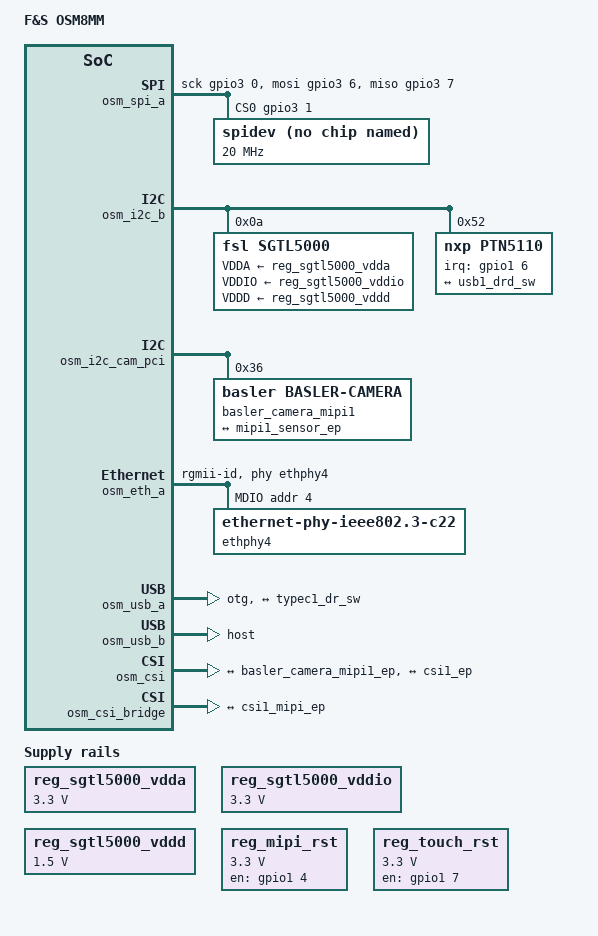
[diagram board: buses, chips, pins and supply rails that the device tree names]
/*
 * Copyright (C) 2024 F&S Elektronik Systeme GmbH
 *
 * This program is free software; you can redistribute it and/or modify
 * it under the terms of the GNU General Public License version 2 as
 * published by the Free Software Foundation.
 */

/dts-v1/;

/* Set board revision as 3-digit number, e.g. 110 for board rev. 1.10 */
#define CONFIG_OSM8MM_BOARD_REVISION	120
/* Set adapter revision as 3-digit number, e.g. 110 for board rev. 1.10 */
#define CONFIG_ADP_OSM_BOARD_REVISION	120
/* Set baseboard revision as 3-digit number, e.g. 110 for board rev. 1.10 */
#define CONFIG_PICOCOREBBDSI_BOARD_REVISION	140

/* Activate this if you want to use the Cortex-M4 core */
//#define SUPPORT_M4

/* Display device-trees enables MIPI DSI */
/* MIPI DSI */
//#define CONFIG_OSM8MM_MIPI_DSI

/* Network */
#define CONFIG_OSM8MM_ETH_A

/* USB */
#define CONFIG_OSM8MM_USB_A
#define CONFIG_OSM8MM_USB_B
#define CONFIG_OSM8MM_USB_A_USBC
#define CONFIG_OSM8MM_USB_A_USBC_ALERT

/* PCIe */
#define CONFIG_OSM8MM_PCIE_A

/* I2C */
#define CONFIG_OSM8MM_I2C_A /* OSM: EEPROM BB: I2C_A */
#define CONFIG_OSM8MM_I2C_B /* ADP: SGTL5000 BB: I2C_D */
/* OSM: I2C_CAM_PCI ADP: I2C_CAM  BB: I2C_B */
/* OSM: I2C_CAM_PCI ADP: MPCIE_SM BB: I2C_C */
#define CONFIG_OSM8MM_I2C_CAM_PCI

/* PWM and backlight brightness */
//#define CONFIG_OSM8MM_BL_CTRL
#define CONFIG_OSM8MM_PWM_0
#define CONFIG_OSM8MM_PWM_1

/* UART_CONN - UART1 */
#define CONFIG_OSM8MM_UART_CONN

/* UART_B - UART3 */
#define CONFIG_OSM8MM_UART_B
#define CONFIG_OSM8MM_UART_B_RTSCTS

/* UART_C - UART4 */
#define CONFIG_OSM8MM_UART_C

/* FSPI (Single/Dual/Quad) -> Uncommented because of SPI-GPIO */
//#define CONFIG_OSM8MM_SPI_A

/* Audio */
#define CONFIG_OSM8MM_I2S_A

/* Camera on serial MIPI CSI interface */
#define CONFIG_OSM8MM_SERIAL_CAMERA
/* Experimental implementation for Basler dart daA4200-30mci.
 * Define CONFIG_OSM8MM_SERIAL_CAMERA must also be set.
 */

/*
 * SD_A - External SD port with Card Detect (CD) and Write Protect (WP)
 * On picocoremx8mm SKIT: external port is Micro-SD card slot with CD but
 * without WP
 */
#define CONFIG_OSM8MM_SDIO_A
#define CONFIG_OSM8MM_SDIO_A_CD
#define CONFIG_OSM8MM_SDIO_A_WP

/* Check for invalid CONFIG combinations */

/*
 * Exclude devices from Linux that are used by the Cortex-M4 FreeRTOS examples
 *
 * - UART_D: Debug Console for Cortex-M4
 * - I2C_A:  I2C Bus used in I2C examples
 * - I2C_D:  I2C Bus used by the Audio Codec in SAI examples
 * - SPI_B:  SPI_B is used for ECSPI examples
 * - SDMA1:  Gets removed at another Point, it is used by SPI_B and UART driver
 *           examples
 * - SPI_A:  SPI_A using SDMA1 but SDMA1 is excluded so also exclude SPI_A
 *
 * In addition the following pins are already predefined in FreeRTOS to be used
 * as arbitrary GPIOs. Please remove the comment of the appropriate line of
 * each device from which you use any signal in your own application.
 *
 * - AUDIO_3: GPT capture driver example uses one of its Pins
 */
#ifdef SUPPORT_M4
#undef CONFIG_OSM8MM_UART_C
//#undef CONFIG_OSM8MM_I2C_A
//#undef CONFIG_OSM8MM_SPI_A
//#undef CONFIG_OSM8MM_SPI_B
/* Only undef if using audio/sai examples */
//#undef CONFIG_OSM8MM_I2C_B
//#undef CONFIG_OSM8MM_I2S_A
#endif

/* Disable PWM_0 if BL_CTRL is enabled */
#ifdef CONFIG_OSM8MM_BL_CTRL
#undef CONFIG_OSM8MM_PWM_0
#endif

/* Set different settings for corresponding baseboard revision */
#if CONFIG_PICOCOREBBDSI_BOARD_REVISION < 130
#undef CONFIG_OSM8MM_USB_A_USBC
#endif

#if !defined(CONFIG_OSM8MM_USB_A_USBC) \
    || (CONFIG_PICOCOREBBDSI_BOARD_REVISION < 140)
#undef CONFIG_OSM8MM_USB_A_USBC_ALERT
#endif

#include "osm8mm.dtsi"

/* osm_spi_a overwritten by SPI bitbanging driver */
/delete-node/ &osm_spi_a;

/ {
	model = "F&S OSM8MM";

	regulators {
		/* SGTL5000 analog voltage */
		reg_sgtl5000_vdda: sgtl5000_vdda {
			compatible = "regulator-fixed";
			regulator-name = "VDDA-supply";
			regulator-min-microvolt = <3300000>;
			regulator-max-microvolt = <3300000>;
			regulator-always-on;
		};

		/* SGTL5000 I/O voltage */
		reg_sgtl5000_vddio: sgtl5000_vddio {
			compatible = "regulator-fixed";
			regulator-name = "VDDIO-supply";
			regulator-min-microvolt = <3300000>;
			regulator-max-microvolt = <3300000>;
			regulator-always-on;
		};

		/* SGTL5000 internal digital voltage */
		reg_sgtl5000_vddd: sgtl5000_vddd {
			compatible = "regulator-fixed";
			regulator-name = "VDDD-supply";
			regulator-min-microvolt = <1500000>;
			regulator-max-microvolt = <1500000>;
			regulator-always-on;
		};

		reg_mipi_rst: regulator_mipi_rst {
			compatible = "regulator-fixed";
			regulator-name = "MIPI_RST";
			gpio = <&gpio1 4 GPIO_ACTIVE_HIGH>;
			regulator-min-microvolt = <3300000>;
			regulator-max-microvolt = <3300000>;
			regulator-boot-on;
			regulator-always-on;
			enable-active-high;
			startup-delay-us = <1000>;
			off-on-delay-us = <12000>;
		};

		reg_touch_rst: regulator_touch_rst {
			compatible = "regulator-fixed";
			regulator-name = "TOUCH_RST";
			gpio = <&gpio1 7 GPIO_ACTIVE_HIGH>;
			regulator-min-microvolt = <3300000>;
			regulator-max-microvolt = <3300000>;
			regulator-boot-on;
			regulator-always-on;
			enable-active-high;
			startup-delay-us = <1000>;
			off-on-delay-us = <12000>;
		};
	};

	sound-sgtl5000 {
		compatible = "simple-audio-card";
		simple-audio-card,name = "imx-sgtl5000";
		simple-audio-card,format = "i2s";
		simple-audio-card,frame-master = <&codecdai>;
		simple-audio-card,bitclock-master = <&codecdai>;
		simple-audio-card,widgets =
			"Line", "Line Out Jack",
			"Line", "Line In Jack",
			"Microphone", "Microphone Jack",
			"Headphone", "Headphone Jack";
		simple-audio-card,routing =
			"Line Out Jack", "LINE_OUT",
			"LINE_IN", "Line In Jack", 
			"MIC_IN", "Microphone Jack",
			"Headphone Jack", "HP_OUT";

		cpudai: simple-audio-card,cpu {
			sound-dai = <&osm_i2s_a>;
		};

		codecdai: simple-audio-card,codec {
			sound-dai = <&sgtl5000>;
		};
	};

	/* SPI bitbanging driver */
	osm_spi_a: spi {
		compatible = "spi-gpio";
		#address-cells = <0x1>;
		#size-cells = <0x0>;

		sck-gpios = <&gpio3 0 0>;
		miso-gpios = <&gpio3 7 0>;
		mosi-gpios = <&gpio3 6 0>;
		cs-gpios = <&gpio3 1 0>;
		num-chipselects = <1>;

		spidev@0 {
			compatible = "linux,spidev";
			spi-max-frequency = <20000000>;
			reg = <0>;
			status = "okay";
		};
	};
};

&bdinfo{
	board_name = "osm8mm";
};

#if CONFIG_ADP_OSM_BOARD_REVISION < 120
#if defined(CONFIG_OSM8MM_MIPI_DSI) \
|| defined(CONFIG_OSM8MM_MIPI_DSI_LVDS)
&reg_vlcd {
	gpio = <&gpio1 0 GPIO_ACTIVE_HIGH>;
};
#endif

#ifdef CONFIG_OSM8MM_BL_CTRL
&reg_ldb_bl {
	gpio = <&gpio1 1 GPIO_ACTIVE_HIGH>;
};
#endif
#endif

&osm_i2c_b {
	sgtl5000: sgtl5000@a {
		#sound-dai-cells = <0>;
		compatible = "fsl,sgtl5000";
		/* MCLK is needed for i2c sgtl driver */
		pinctrl-names = "default";
		pinctrl-0 = <&pinctrl_sgtl5000>;
		reg = <0xa>;
		mono2both;
		clocks = <&clk IMX8MM_CLK_SAI5_ROOT>;
		VDDA-supply = <&reg_sgtl5000_vdda>;
		VDDIO-supply = <&reg_sgtl5000_vddio>;
		VDDD-supply = <&reg_sgtl5000_vddd>;
	};

#ifdef CONFIG_OSM8MM_USB_A_USBC
	/* USB-C */
	ptn5110: tcpc@52 {
		compatible = "nxp,ptn5110";
#ifdef CONFIG_OSM8MM_USB_A_USBC_ALERT
		interrupt-parent = <&gpio1>;
		interrupts = <6 IRQ_TYPE_LEVEL_LOW>;
#endif
		reg = <0x52>;
		status = "okay";

		port {
			typec1_dr_sw: endpoint {
				remote-endpoint = <&usb1_drd_sw>;
			};
		};

		typec1_con: connector {
			compatible = "usb-c-connector";
			label = "USB-C";
			power-role = "dual";
			data-role = "dual";
			try-power-role = "sink";
			source-pdos = <PDO_FIXED(5000, 3000,
			PDO_FIXED_USB_COMM)>;
			sink-pdos = <PDO_FIXED(5000, 3000, PDO_FIXED_USB_COMM)
				     PDO_VAR(5000, 20000, 3000)>;
			op-sink-microwatt = <15000000>;
			self-powered;
		};
	};
#endif
};

&osm_i2c_cam_pci {
	basler_camera_mipi1: basler_camera_mipi@36 {
		compatible = "basler,basler-camera";
		reg = <0x36>;
		status = "okay";

		port {
			basler_camera_mipi1_ep: endpoint {
				remote-endpoint = <&mipi1_sensor_ep>;

				/* IMPORTANT: The following three entries needs
				 * to be held in sync with the information
				 * stored in the mipi1_sensor_ep node.
				 */
				 data-lanes = <1 2 3 4>;
				 clock-lanes = <0>;
				 link-frequencies = /bits/ 64 <496000000>;
			};
		};
	};
};

#if 0
/* SPI not implemented in NXP FlexSPI driver, so use SPI-GPIO */
&osm_spi_a {
	cs-gpios = <0>;

	spidev@0 {
		spi-tx-bus-width = <1>;
		spi-rx-bus-width = <1>;
	};
};
#endif

&osm_eth_a {
	phy-mode = "rgmii-id";
	phy-handle = <&ethphy4>;

	mdio {
		#address-cells = <1>;
		#size-cells = <0>;

		ethphy4: ethernet-phy@4 {
			compatible = "ethernet-phy-ieee802.3-c22";
			reg = <4>;
			rtl821x,clkout-disable;
			rtl821x,aldps-enable;
			rtl821x,ssc-rxc-enable;
			rtl821x,ssc-sysclk-enable;
			rtl821x,ssc-clkout-enable;
			rtl821x,led-link = <2>; // LED1 for link indication
			rtl821x,led-act = <2>; // LED1 for activity
			eee-broken-1000t;
		};
	};
};

&osm_usb_a {
	dr_mode = "otg";
#ifdef CONFIG_OSM8MM_USB_A_USBC
	hnp-disable;
	srp-disable;
	adp-disable;
	usb-role-switch;

	port {
		usb1_drd_sw: endpoint {
			remote-endpoint = <&typec1_dr_sw>;
		};
	};
#endif
};

&osm_usb_b {
	dr_mode = "host";
};

&osm_csi {
	/delete-property/ csi,mipi_rst;

	port {
		mipi1_sensor_ep: endpoint@1 {
			remote-endpoint = <&basler_camera_mipi1_ep>;
			/* If the following entries are changed, then
			 * the entries in the basler_camera_mipi1_ep node
			 * need to update too.
			 */
			/* On the i.mx8mmini NXP uses data-lanes
			 * other than expected by the kernel.
			 * On the imx8mmini the enry data-lanes
			 * must contain the number of data lanes.
			 */
			data-lanes = <4>;
			clock-lanes = <0>;
			link-frequencies = /bits/ 64 <496000000>;
			csis-hs-settle = <13>;
			csis-clk-settle = <2>;
			csis-wclk;
		};

		csi1_mipi_ep: endpoint@2 {
			remote-endpoint = <&csi1_ep>;
		};
	};
};

&osm_csi_bridge {
	dma-coherent;
	bsl,dma-invalidate;

	port {
		csi1_ep: endpoint {
			remote-endpoint = <&csi1_mipi_ep>;
		};
	};
};

/delete-node/ &pinctrl_osm_i2s_a;

&iomuxc {
	imx8mm-picocoremx8mm {
		pinctrl_osm_i2s_a: sai5grp {
			fsl,pins = <
				MX8MM_IOMUXC_SAI5_RXD1_SAI5_TX_SYNC	0x000d6
				MX8MM_IOMUXC_SAI5_RXD2_SAI5_TX_BCLK	0x000d6
				MX8MM_IOMUXC_SAI5_RXD3_SAI5_TX_DATA0	0x000d6
				MX8MM_IOMUXC_SAI5_RXD0_SAI5_RX_DATA0	0x000d6
			>;
		};

		pinctrl_sgtl5000: sgtl5000grp {
			fsl,pins = <
				MX8MM_IOMUXC_SAI5_MCLK_SAI5_MCLK	0x000d6
			>;
		};

#ifdef IMX8MM_TOUCH_INTERRUPT_PINCTRL
		pinctrl_touch_int: touchintgrp {
			fsl,pins = <
				MX8MM_IOMUXC_GPIO1_IO05_GPIO1_IO5	0x00084
			>;
		};
#endif
	};
};

&pinctrl_hog {
	fsl,pins = <
		/* CARRIER_PWR_EN */
		MX8MM_IOMUXC_SAI2_MCLK_GPIO4_IO27	0x00004

		/* GPIO_A */
		/* 0 */ MX8MM_IOMUXC_GPIO1_IO00_GPIO1_IO0	0x00004
		/* 1 */ MX8MM_IOMUXC_GPIO1_IO01_GPIO1_IO1	0x00004
		/* 2 */ MX8MM_IOMUXC_GPIO1_IO04_GPIO1_IO4	0x00004
#ifndef IMX8MM_TOUCH_INTERRUPT_PINCTRL
		/* 3 */ MX8MM_IOMUXC_GPIO1_IO05_GPIO1_IO5	0x00004
#endif
		/* 4 */ MX8MM_IOMUXC_GPIO1_IO06_GPIO1_IO6	0x00004
		/* 5 */ MX8MM_IOMUXC_GPIO1_IO07_GPIO1_IO7	0x00004
#ifndef CONFIG_OSM8MM_SPI_A_CS1
		/* 6 */ MX8MM_IOMUXC_NAND_CE1_B_GPIO3_IO2	0x00004
#endif
#ifndef CONFIG_OSM8MM_SPI_B_CS1
		/* 7 */ MX8MM_IOMUXC_ECSPI1_SCLK_GPIO5_IO6	0x00004
#endif
		/* GPIO_B */
		/* 0 */ MX8MM_IOMUXC_GPIO1_IO08_GPIO1_IO8	0x00004
		/* 1 */ MX8MM_IOMUXC_GPIO1_IO09_GPIO1_IO9	0x00004
		/* 2 */ MX8MM_IOMUXC_GPIO1_IO10_GPIO1_IO10	0x00004
		/* 3 */ MX8MM_IOMUXC_GPIO1_IO11_GPIO1_IO11	0x00004
		/* 4 */ MX8MM_IOMUXC_ECSPI1_MOSI_GPIO5_IO7	0x00004
		/* 5 */ MX8MM_IOMUXC_SAI1_RXD7_GPIO4_IO9	0x00004
		/* 6 */ MX8MM_IOMUXC_SAI1_RXD6_GPIO4_IO8	0x00004
		/* 7 */ MX8MM_IOMUXC_SAI1_RXD5_GPIO4_IO7	0x00004

		/* GPIO_C */
		/* 0 */ MX8MM_IOMUXC_SAI1_RXD4_GPIO4_IO6	0x00004
		/* 1 */ MX8MM_IOMUXC_SAI1_RXD3_GPIO4_IO5	0x00004
		/* 2 */ MX8MM_IOMUXC_SAI1_RXD2_GPIO4_IO4	0x00004
		/* 3 */ MX8MM_IOMUXC_SAI1_RXD1_GPIO4_IO3	0x00004
		/* 4 */ /* VDD_EN: Disable display for usage */
		/* 4 */ MX8MM_IOMUXC_SAI3_TXD_GPIO5_IO1		0x00004
		/* 5 */ /* BL_EN: Disable backlight control for usage */
		/* 5 */ MX8MM_IOMUXC_SAI3_TXC_GPIO5_IO0		0x00004
		/* 6 */ /* CAM_EN: Disable CAM for usage */
		/* 6 */ MX8MM_IOMUXC_SAI2_TXC_GPIO4_IO25	0x00004
		/* 7 */ /* CAM_RST: Disable CAM for usage */
		/* 7 */ MX8MM_IOMUXC_SAI2_TXD0_GPIO4_IO26	0x00004

#ifndef CONFIG_OSM8MM_SDIO_A
		MX8MM_IOMUXC_SD2_CLK_GPIO2_IO13		0x00004
		MX8MM_IOMUXC_SD2_CMD_GPIO2_IO14		0x00004
		MX8MM_IOMUXC_SD2_DATA0_GPIO2_IO15	0x00004
		MX8MM_IOMUXC_SD2_DATA1_GPIO2_IO16	0x00004
		MX8MM_IOMUXC_SD2_DATA2_GPIO2_IO17	0x00004
		MX8MM_IOMUXC_SD2_DATA3_GPIO2_IO18	0x00004
		MX8MM_IOMUXC_SD2_RESET_B_GPIO2_IO19	0x00004
#endif

#ifndef CONFIG_OSM8MM_SDIO_A_WP
		MX8MM_IOMUXC_SD2_WP_GPIO2_IO20		0x00004
#endif

#ifndef CONFIG_OSM8MM_SDIO_A_CD
		MX8MM_IOMUXC_SD2_CD_B_GPIO2_IO12	0x00004
#endif

#ifndef CONFIG_OSM8MM_SDIO_B
		MX8MM_IOMUXC_NAND_WE_B_GPIO3_IO17		0x00004
		MX8MM_IOMUXC_NAND_WP_B_GPIO3_IO18		0x00004
		MX8MM_IOMUXC_NAND_DATA04_GPIO3_IO10		0x00004
		MX8MM_IOMUXC_NAND_DATA05_GPIO3_IO11		0x00004
		MX8MM_IOMUXC_NAND_DATA06_GPIO3_IO12		0x00004
		MX8MM_IOMUXC_NAND_DATA07_GPIO3_IO13		0x00004
		MX8MM_IOMUXC_NAND_READY_B_GPIO3_IO16	0x00004
#endif

#ifndef CONFIG_OSM8MM_SDIO_B_8_BIT
		MX8MM_IOMUXC_NAND_RE_B_GPIO3_IO15	0x00004
		MX8MM_IOMUXC_NAND_CE2_B_GPIO3_IO3	0x00004
		MX8MM_IOMUXC_NAND_CE3_B_GPIO3_IO4	0x00004
		MX8MM_IOMUXC_NAND_CLE_GPIO3_IO5		0x00004
#endif

#ifndef CONFIG_OSM8MM_SDIO_B_WP
		MX8MM_IOMUXC_SAI2_RXD0_GPIO4_IO23	0x00004
#endif

#ifndef CONFIG_OSM8MM_SDIO_B_CD
		MX8MM_IOMUXC_SAI2_RXC_GPIO4_IO22	0x00004
#endif

#ifndef CONFIG_OSM8MM_I2C_A
		/* I2C_B */
		MX8MM_IOMUXC_I2C2_SCL_GPIO5_IO16	0x00004
		MX8MM_IOMUXC_I2C2_SDA_GPIO5_IO17	0x00004
#endif

#ifndef CONFIG_OSM8MM_I2C_B
		/* I2C_C */
		MX8MM_IOMUXC_I2C3_SCL_GPIO5_IO18	0x00004
		MX8MM_IOMUXC_I2C3_SDA_GPIO5_IO19	0x00004
#endif

#ifndef CONFIG_OSM8MM_I2C_CAM_PCI
		/* I2C_A */
		MX8MM_IOMUXC_I2C4_SCL_GPIO5_IO20	0x00004
		MX8MM_IOMUXC_I2C4_SDA_GPIO5_IO21	0x00004
#endif

#ifndef CONFIG_OSM8MM_UART_CONN
		MX8MM_IOMUXC_UART1_RXD_GPIO5_IO22	0x00004
		MX8MM_IOMUXC_UART1_TXD_GPIO5_IO23	0x00004
#endif

#ifndef CONFIG_OSM8MM_UART_A
		MX8MM_IOMUXC_UART2_RXD_GPIO5_IO24	0x00004
		MX8MM_IOMUXC_UART2_TXD_GPIO5_IO25	0x00004
#endif
#ifndef CONFIG_OSM8MM_UART_A_RTSCTS
		MX8MM_IOMUXC_SAI3_RXC_GPIO4_IO29	0x00004
		MX8MM_IOMUXC_SAI3_RXD_GPIO4_IO30	0x00004
#endif

#ifndef CONFIG_OSM8MM_UART_B
		MX8MM_IOMUXC_UART3_RXD_GPIO5_IO26	0x00004
		MX8MM_IOMUXC_UART3_TXD_GPIO5_IO27	0x00004
#endif
#ifndef CONFIG_OSM8MM_UART_B_RTSCTS
		MX8MM_IOMUXC_ECSPI1_MISO_GPIO5_IO8	0x00004
		MX8MM_IOMUXC_ECSPI1_SS0_GPIO5_IO9	0x00004
#endif

#if !defined(CONFIG_OSM8MM_UART_C) && !defined(SUPPORT_M4)
		MX8MM_IOMUXC_UART4_RXD_GPIO5_IO28	0x00004
		MX8MM_IOMUXC_UART4_TXD_GPIO5_IO29	0x00004
#endif

#ifndef CONFIG_OSM8MM_ETH_A
		/* ETH */
		MX8MM_IOMUXC_ENET_MDC_GPIO1_IO16	0x00004
		MX8MM_IOMUXC_ENET_MDIO_GPIO1_IO17	0x00004
		MX8MM_IOMUXC_ENET_TX_CTL_GPIO1_IO22	0x00004
		MX8MM_IOMUXC_ENET_TXC_GPIO1_IO23	0x00004
		MX8MM_IOMUXC_ENET_TD0_GPIO1_IO21	0x00004
		MX8MM_IOMUXC_ENET_TD1_GPIO1_IO20	0x00004
		MX8MM_IOMUXC_ENET_TD2_GPIO1_IO19	0x00004
		MX8MM_IOMUXC_ENET_TD3_GPIO1_IO18	0x00004
		MX8MM_IOMUXC_ENET_RX_CTL_GPIO1_IO24	0x00004
		MX8MM_IOMUXC_ENET_RXC_GPIO1_IO25	0x00004
		MX8MM_IOMUXC_ENET_RD0_GPIO1_IO26	0x00004
		MX8MM_IOMUXC_ENET_RD1_GPIO1_IO27	0x00004
		MX8MM_IOMUXC_ENET_RD2_GPIO1_IO28	0x00004
		MX8MM_IOMUXC_ENET_RD3_GPIO1_IO29	0x00004
#endif
		/* USB */
#ifndef CONFIG_OSM8MM_USB_A
		MX8MM_IOMUXC_GPIO1_IO12_GPIO1_IO12	0x00004
		MX8MM_IOMUXC_GPIO1_IO13_GPIO1_IO13	0x00004
#endif

#ifndef CONFIG_OSM8MM_USB_B
		MX8MM_IOMUXC_GPIO1_IO14_GPIO1_IO14	0x00004
		MX8MM_IOMUXC_GPIO1_IO15_GPIO1_IO15	0x00144
#endif

#ifndef CONFIG_OSM8MM_SPI_A
		/* SPI_A */
		MX8MM_IOMUXC_NAND_ALE_GPIO3_IO0		0x00004
		MX8MM_IOMUXC_NAND_DATA00_GPIO3_IO6	0x00004
		MX8MM_IOMUXC_NAND_DATA01_GPIO3_IO7	0x00004
		MX8MM_IOMUXC_NAND_DATA02_GPIO3_IO8	0x00004
		MX8MM_IOMUXC_NAND_DATA03_GPIO3_IO9	0x00004
		MX8MM_IOMUXC_NAND_CE0_B_GPIO3_IO1	0x00004
#endif

#ifndef CONFIG_OSM8MM_SPI_B
		/* SPI_B */
		MX8MM_IOMUXC_ECSPI2_MISO_GPIO5_IO12	0x00004
		MX8MM_IOMUXC_ECSPI2_MOSI_GPIO5_IO11	0x00004
		MX8MM_IOMUXC_ECSPI2_SCLK_GPIO5_IO10	0x00004
		MX8MM_IOMUXC_ECSPI2_SS0_GPIO5_IO13	0x00004
#endif

#ifndef CONFIG_OSM8MM_I2S_A
		/* AUDIO_A */
		MX8MM_IOMUXC_SAI5_MCLK_GPIO3_IO25	0x00004
		MX8MM_IOMUXC_SAI5_RXD0_GPIO3_IO21	0x00004
		MX8MM_IOMUXC_SAI5_RXD1_GPIO3_IO22	0x00004
		MX8MM_IOMUXC_SAI5_RXD2_GPIO3_IO23	0x00004
		MX8MM_IOMUXC_SAI5_RXD3_GPIO3_IO24	0x00004
#endif

#ifndef CONFIG_OSM8MM_PCIE_A
		/* mPCIE */
		MX8MM_IOMUXC_SAI5_RXFS_GPIO3_IO19	0x00004
		MX8MM_IOMUXC_SAI5_RXC_GPIO3_IO20	0x00004
#endif

#if !defined(CONFIG_OSM8MM_BL_CTRL) && !defined(CONFIG_OSM8MM_PWM_0)
		MX8MM_IOMUXC_SAI3_MCLK_GPIO5_IO2	0x00004
#endif

#ifndef CONFIG_OSM8MM_PWM_1
		MX8MM_IOMUXC_SPDIF_EXT_CLK_GPIO5_IO5	0x00004
#endif

#ifndef CONFIG_OSM8MM_PWM_2
		MX8MM_IOMUXC_SPDIF_RX_GPIO5_IO4			0x00004
#endif

#ifndef CONFIG_OSM8MM_PWM_3
		MX8MM_IOMUXC_SPDIF_TX_GPIO5_IO3			0x00004
#endif
	>;
};
